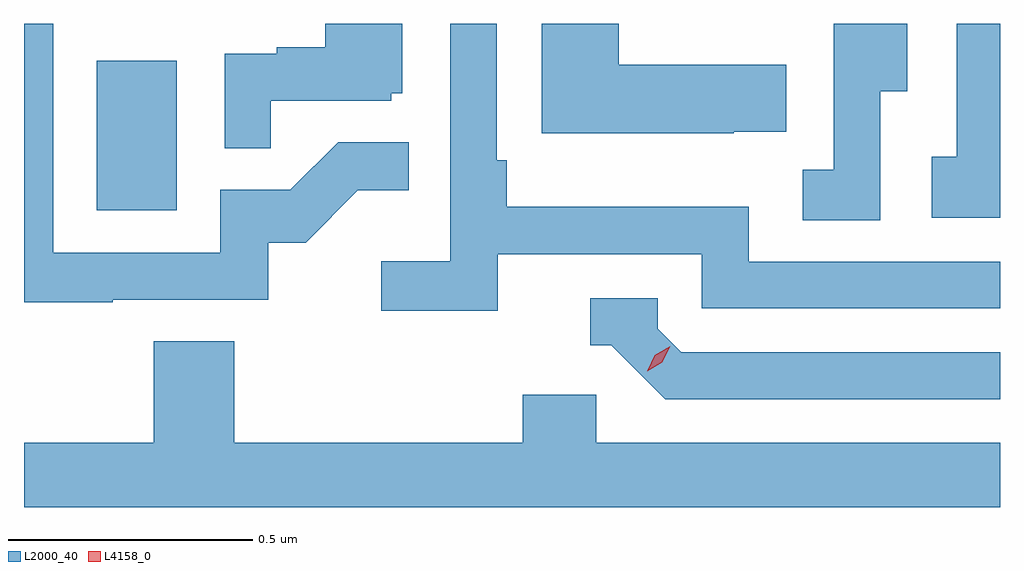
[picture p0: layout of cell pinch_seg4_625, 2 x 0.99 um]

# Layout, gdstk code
import gdstk
lib = gdstk.Library(unit=1e-6, precision=1e-09)
def R(c, l, rs):  # rectangles x0, y0, x1, y1
    for r in rs: c.add(gdstk.rectangle(r[:2], r[2:], *l))
def P(c, l, *ps):  # polygons
    for p in ps: c.add(gdstk.Polygon(p, *l))
L2000_40 = (2000, 40)
L4158_0 = (4158, 0)

pinch_seg4_625 = lib.new_cell('pinch_seg4_625')
R(pinch_seg4_625, L2000_40, [(1060.424,749.508,1060.588,749.815)])
P(pinch_seg4_625, L2000_40, [(1060.781,749.733),(1061.028,749.733),(1061.028,749.748),(1061.05,749.748),(1061.05,749.89),(1060.892,749.89),(1060.892,749.842),(1060.793,749.842),(1060.793,749.829),(1060.686,749.829),(1060.686,749.635),(1060.781,749.635)],
  [(1062.03,749.752),(1062.085,749.752),(1062.085,749.89),(1061.934,749.89),(1061.934,749.591),(1061.871,749.591),(1061.871,749.488),(1062.03,749.488)],
  [(1062.275,749.89),(1062.186,749.89),(1062.186,749.618),(1062.135,749.618),(1062.135,749.493),(1062.275,749.493)],
  [(1060.457,749.325),(1060.776,749.325),(1060.776,749.442),(1060.852,749.442),(1060.959,749.549),(1061.063,749.549),(1061.063,749.648),(1060.919,749.648),(1060.821,749.55),(1060.677,749.55),(1060.677,749.421),(1060.335,749.421),(1060.335,749.89),(1060.275,749.89),(1060.275,749.32),(1060.457,749.32)],
  [(1061.729,749.669),(1061.837,749.669),(1061.837,749.806),(1061.494,749.806),(1061.494,749.89),(1061.336,749.89),(1061.336,749.666),(1061.729,749.666)],
  [(1061.246,749.418),(1061.664,749.418),(1061.664,749.307),(1062.275,749.307),(1062.275,749.403),(1061.76,749.403),(1061.76,749.515),(1061.264,749.515),(1061.264,749.611),(1061.244,749.611),(1061.244,749.89),(1061.148,749.89),(1061.148,749.404),(1061.007,749.404),(1061.007,749.302),(1061.246,749.302)],
  [(1062.275,749.217),(1061.622,749.217),(1061.574,749.265),(1061.574,749.328),(1061.435,749.328),(1061.435,749.232),(1061.478,749.232),(1061.589,749.121),(1062.275,749.121)],
  [(1062.275,749.032),(1061.448,749.032),(1061.448,749.13),(1061.297,749.13),(1061.297,749.032),(1060.706,749.032),(1060.706,749.24),(1060.541,749.24),(1060.541,749.032),(1060.275,749.032),(1060.275,748.9),(1062.275,748.9)])
P(pinch_seg4_625, L4158_0, [(1061.552,749.178),(1061.552,749.178),(1061.568,749.211),(1061.599,749.23),(1061.599,749.23),(1061.599,749.23),(1061.583,749.197),(1061.552,749.178)])

lib.write_gds('pinch_seg4_625.gds')
